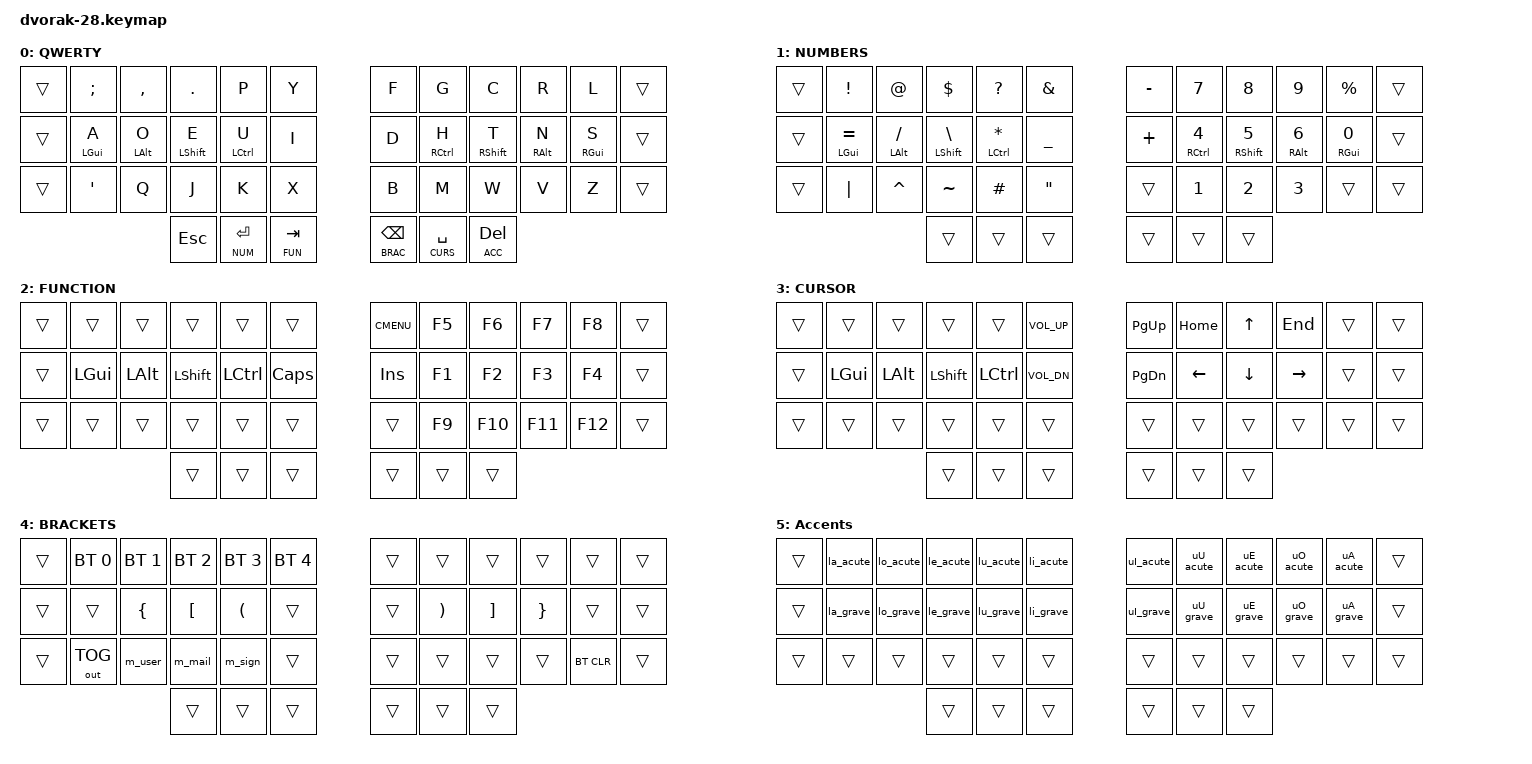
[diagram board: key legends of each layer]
#include <behaviors.dtsi>
#include <dt-bindings/zmk/keys.h>

/ {
    behaviors {
        hm: homerow_mods {
            compatible = "zmk,behavior-hold-tap";
            label = "HOMEROW_MODS";
            bindings = <&kp>, <&kp>;

            #binding-cells = <2>;
            tapping-term-ms = <200>;
            quick-tap-ms = <0>;
            flavor = "tap-preferred";
        };
    };

    macros {
        m_user: m_user {
            label = "username";
            compatible = "zmk,behavior-macro";
            #binding-cells = <0>;
            wait-ms = <0>;
            bindings
            = <&kp E &kp M &kp A &kp N &kp U &kp E &kp L &kp E>
            , <&kp F &kp I &kp R &kp M &kp A &kp N &kp I>
            ;
        };
        m_mail: m_mail {
            label = "email";
            compatible = "zmk,behavior-macro";
            #binding-cells = <0>;
            wait-ms = <0>;
            bindings
            = <&kp E &kp M &kp A &kp N &kp U &kp E &kp L &kp E>
            , <&kp F &kp I &kp R &kp M &kp A &kp N &kp I>
            , <&kp AT &kp K &kp P &kp M &kp G &kp DOT &kp C &kp O &kp M>
            ;
        };
        m_sign: m_sign {
            label = "signature";
            compatible = "zmk,behavior-macro";
            #binding-cells = <0>;
            wait-ms = <0>;
            bindings
            = <&kp LS(T) &kp H &kp A &kp N &kp K &kp S &kp ENTER>
            , <&kp LS(C) &kp I &kp A &kp O &kp ENTER>
            , <&kp LS(E) &kp M &kp A &kp N &kp U &kp E &kp L &kp E>
            ;
        };

    };

        keymap {
                compatible = "zmk,keymap";

                default_layer {
                        label = "QWERTY";
// -----------------------------------------------------------------------------------------
// | |  ;  |  ,  |  .  |  P  |  Y  |            |  F  |  G   |  C  |  R  |  L  | |
// | |  A  |  O  |  E  |  U  |  I  |            |  D  |  H   |  T  |  N  |  S  | |
// | |  '  |  Q  |  J  |  K  |  X  |            |  B  |  M   |  W  |  V  |  Z  | |
//             | ESC | Enter | Tab |            | ENT | RSE  | ALT |
                        bindings = <
   &trans &kp SEMI   &kp COMMA  &kp DOT     &kp P               &kp Y           &kp F           &kp G           &kp C       &kp R      &kp L      &trans
   &trans &mt LGUI A &mt LALT O &mt LSHFT E &mt LCTRL U         &kp I           &kp D           &mt RCTRL H     &mt RSHFT T &mt RALT N &mt RGUI S &trans
   &trans &kp APOS   &kp Q      &kp J       &kp K               &kp X           &kp B           &kp M           &kp W       &kp V      &kp Z      &trans
                                &kp ESC     &lt NUM ENTER       &lt FUN TAB     &lt BRAC BSPC   &lt CURS SPACE  &lt ACC DEL
                        >;
                };

                numbers_layer {
                        label = "NUMBERS";
// -----------------------------------------------------------------------------------------
// | |  !  |  @  |  $  |  ?  |  &  |            |  -  |  7   |  8  |  9  |  %  | |
// | |  =  |  /  |  \  |  *  |  _  |            |  +  |  4   |  5  |  6  |  0  | |
// | |  |  |  ^  |  ~  |  #  |  "  |            |     |  1   |  2  |  3  |     | |
                        bindings = <
   &trans &kp EXCL        &kp AT         &kp DOLLAR     &kp QMARK       &kp AMPS        &kp MINUS  &kp N7        &kp N8        &kp N9      &kp PRCNT    &trans
   &trans &mt LGUI EQUAL  &mt LALT FSLH  &mt LSHFT BSLH &mt LCTRL STAR  &kp UNDER       &kp PLUS   &mt RCTRL N4  &mt RSHFT N5  &mt RALT N6 &mt RGUI N0  &trans
   &trans &kp PIPE        &kp CARET      &kp TILDE      &kp HASH        &kp DQT         &trans     &kp N1        &kp N2        &kp N3      &trans       &trans
                                         &trans         &trans          &trans          &trans     &trans  &trans
                        >;
                };

                function_layer {
                        label = "FUNCTION";
// -----------------------------------------------------------------------------------------
// | |     |     |     |     |     |            |Menu | F5   | F6  | F7  | F8  | |
// | | GUI | Alt |Shift|Ctrl |     |            |Inser| F1   | F2  | F3  | F4  | |
// | |     |     |     |     |     |            |     | F9   | F10 | F11 | F12 | |
                        bindings = <
   &trans &trans    &trans     &trans      &trans     &trans        &kp K_CMENU  &kp F5   &kp F6   &kp F7   &kp F8   &trans
   &trans &kp LGUI  &kp LALT   &kp LSHFT   &kp LCTRL  &kp CAPS      &kp INSERT   &kp F1   &kp F2   &kp F3   &kp F4   &trans
   &trans &trans    &trans     &trans      &trans     &trans        &trans       &kp F9   &kp F10  &kp F11  &kp F12  &trans
                               &trans      &trans     &trans        &trans       &trans   &trans
                        >;
                };

                cursor_layer {
                        label = "CURSOR";
// -----------------------------------------------------------------------------------------
// | |     |     |     |     |Vol+ |            |PgUp |Home  | Up  | End |     | |
// | | GUI | Alt |Shift|Ctrl |Vol- |            |PgDw |Left  |Down |Right|     | |
// | |     |     |     |     |     |            |     |      |     |     |     | |
                        bindings = <
   &trans &trans    &trans     &trans      &trans     &kp C_VOL_UP    &kp PG_UP   &kp HOME   &kp UP    &kp END    &trans   &trans
   &trans &kp LGUI  &kp LALT   &kp LSHFT   &kp LCTRL  &kp C_VOL_DN    &kp PG_DN   &kp LEFT   &kp DOWN  &kp RIGHT  &trans   &trans
   &trans &trans    &trans     &trans      &trans     &trans          &trans      &trans     &trans    &trans     &trans  &trans
                               &trans      &trans     &trans          &trans      &trans     &trans
                        >;
                };


                brackets_layer {
                        label = "BRACKETS";
// -----------------------------------------------------------------------------------------
// | | BT1 | BT2 | BT3 | BT4 | BT5 |            |     |     |     |     |     | |
// | |     |  {  |  [  |  (  |     |            |  )  |  ]  |  }  |     |     | |
// | |BlUsb|user |mail |sign |     |            |     |     |     |     |BTCLR| |
                        bindings = <
   &trans &bt BT_SEL 0  &bt BT_SEL 1  &bt BT_SEL 2  &bt BT_SEL 3  &bt BT_SEL 4      &trans  &trans   &trans    &trans      &trans      &trans
   &trans &trans        &kp LBRC      &kp LBKT      &kp LPAR      &trans            &trans  &kp RPAR   &kp RBKT  &kp RBRC  &trans      &trans
   &trans &out OUT_TOG  &m_user       &m_mail       &m_sign       &trans            &trans  &trans     &trans    &trans    &bt BT_CLR  &trans
                                      &trans        &trans        &trans            &trans  &trans     &trans
                        >;
                };

                lower_layer {
                        label = "Accents";
                        bindings = <
   &trans &la_acute &lo_acute &le_acute &lu_acute &li_acute      &uI_acute &uU_acute &uE_acute &uO_acute &uA_acute &trans
   &trans &la_grave &lo_grave &le_grave &lu_grave &li_grave      &uI_grave &uU_grave &uE_grave &uO_grave &uA_grave &trans
   &trans &trans    &trans    &trans    &trans    &trans         &trans    &trans    &trans    &trans    &trans   &trans
                              &trans    &trans    &trans         &trans    &trans    &trans
                        >;
                };
        };
};
